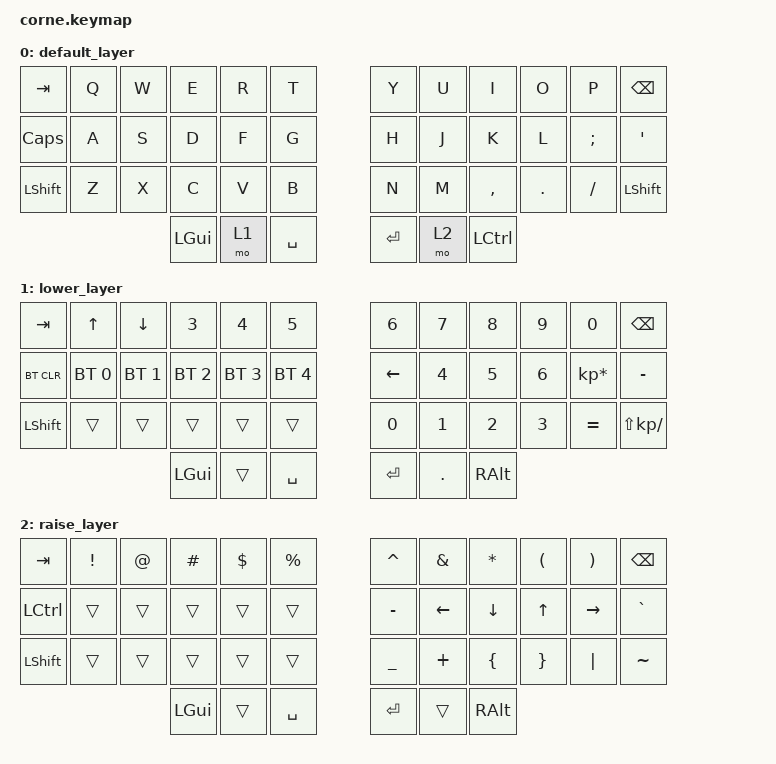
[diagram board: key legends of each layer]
/*
 * Copyright (c) 2020 The ZMK Contributors
 *
 * SPDX-License-Identifier: MIT
 */

#include <behaviors.dtsi>
#include <dt-bindings/zmk/bt.h>
#include <dt-bindings/zmk/keys.h>

/ {
    keymap {
        compatible = "zmk,keymap";

        default_layer {
            // -----------------------------------------------------------------------------------------
            // |  TAB |  Q  |  W  |  E  |  R  |  T  |   |  Y  |  U   |  I  |  O  |  P  | BSPC |
            // | CTRL |  A  |  S  |  D  |  F  |  G  |   |  H  |  J   |  K  |  L  |  ;  |  '   |
            // | SHFT |  Z  |  X  |  C  |  V  |  B  |   |  N  |  M   |  ,  |  .  |  /  | ESC  |
            //                    | GUI | LWR | SPC |   | ENT | RSE  | ALT |

            bindings = <
&kp TAB    &kp Q  &kp W  &kp E     &kp R  &kp T        &kp Y    &kp U  &kp I             &kp O    &kp P     &kp BSPC
&kp CAPS   &kp A  &kp S  &kp D     &kp F  &kp G        &kp H    &kp J  &kp K             &kp L    &kp SEMI  &kp SQT
&kp LSHFT  &kp Z  &kp X  &kp C     &kp V  &kp B        &kp N    &kp M  &kp COMMA         &kp DOT  &kp FSLH  &kp LEFT_SHIFT
                         &kp LGUI  &mo 1  &kp SPACE    &kp RET  &mo 2  &kp LEFT_CONTROL
            >;
        };

        lower_layer {
            // -----------------------------------------------------------------------------------------
            // |  TAB |  1  |  2  |  3  |  4  |  5  |   |  6  |  7  |  8  |  9  |  0  | BSPC |
            // | BTCLR| BT1 | BT2 | BT3 | BT4 | BT5 |   | LFT | DWN |  UP | RGT |     |      |
            // | SHFT |     |     |     |     |     |   |     |     |     |     |     |      |
            //                    | GUI |     | SPC |   | ENT |     | ALT |

            bindings = <
&kp TAB     &kp UP_ARROW  &kp DOWN      &kp N3        &kp N4        &kp N5          &kp N6        &kp N7        &kp N8        &kp N9        &kp N0           &kp BSPC
&bt BT_CLR  &bt BT_SEL 0  &bt BT_SEL 1  &bt BT_SEL 2  &bt BT_SEL 3  &bt BT_SEL 4    &kp LEFT      &kp N4        &kp N5        &kp NUMBER_6  &kp KP_ASTERISK  &kp MINUS
&kp LSHFT   &trans        &trans        &trans        &trans        &trans          &kp NUMBER_0  &kp NUMBER_1  &kp NUMBER_2  &kp NUMBER_3  &kp EQUAL        &kp LS(KP_DIVIDE)
                                        &kp LGUI      &trans        &kp SPACE       &kp RET       &kp DOT       &kp RALT
            >;
        };

        raise_layer {
            // -----------------------------------------------------------------------------------------
            // |  TAB |  !  |  @  |  #  |  $  |  %  |   |  ^  |  &  |  *  |  (  |  )  | BSPC |
            // | CTRL |     |     |     |     |     |   |  -  |  =  |  [  |  ]  |  \  |  `   |
            // | SHFT |     |     |     |     |     |   |  _  |  +  |  {  |  }  | "|" |  ~   |
            //                    | GUI |     | SPC |   | ENT |     | ALT |

            bindings = <
&kp TAB    &kp EXCL  &kp AT  &kp HASH  &kp DLLR  &kp PRCNT    &kp CARET  &kp AMPS  &kp ASTRK  &kp LPAR      &kp RPAR   &kp BSPC
&kp LCTRL  &trans    &trans  &trans    &trans    &trans       &kp MINUS  &kp LEFT  &kp DOWN   &kp UP_ARROW  &kp RIGHT  &kp GRAVE
&kp LSHFT  &trans    &trans  &trans    &trans    &trans       &kp UNDER  &kp PLUS  &kp LBRC   &kp RBRC      &kp PIPE   &kp TILDE
                             &kp LGUI  &trans    &kp SPACE    &kp RET    &trans    &kp RALT
            >;
        };
    };
};
